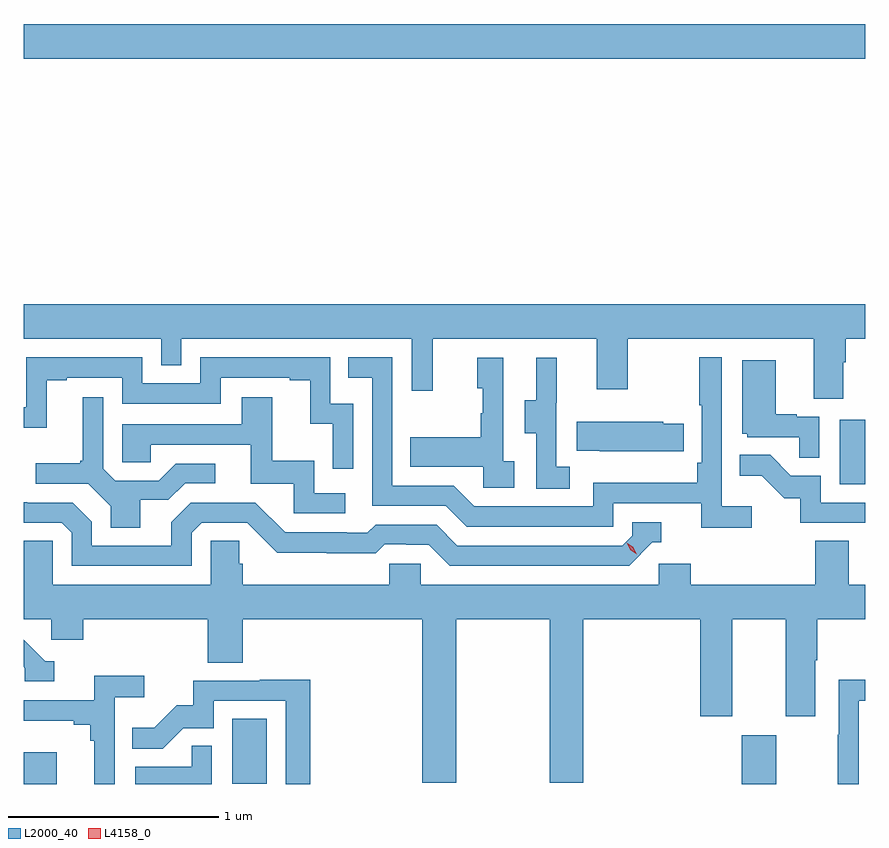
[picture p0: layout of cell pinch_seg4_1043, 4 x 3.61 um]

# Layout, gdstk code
import gdstk
lib = gdstk.Library(unit=1e-6, precision=1e-09)
def R(c, l, rs):  # rectangles x0, y0, x1, y1
    for r in rs: c.add(gdstk.rectangle(r[:2], r[2:], *l))
def P(c, l, *ps):  # polygons
    for p in ps: c.add(gdstk.Polygon(p, *l))
L2000_40 = (2000, 40)
L4158_0 = (4158, 0)

pinch_seg4_1043 = lib.new_cell('pinch_seg4_1043')
R(pinch_seg4_1043, L2000_40, [(879.876,761.404,880.033,761.554), (883.289,761.404,883.453,761.635), (880.868,761.406,881.032,761.713), (883.754,762.828,883.876,763.135), (879.876,764.852,883.876,765.016)])
P(pinch_seg4_1043, L2000_40, [(879.876,763.52),(880.53,763.52),(880.53,763.393),(880.626,763.393),(880.626,763.52),(881.721,763.52),(881.721,763.272),(881.819,763.272),(881.819,763.52),(882.599,763.52),(882.599,763.281),(882.747,763.281),(882.747,763.52),(883.631,763.52),(883.631,763.234),(883.771,763.234),(883.771,763.408),(883.784,763.408),(883.784,763.52),(883.876,763.52),(883.876,763.684),(879.876,763.684)],
  [(883.336,762.724),(883.194,762.724),(883.194,763.432),(883.086,763.432),(883.086,763.204),(883.098,763.204),(883.098,762.931),(883.078,762.931),(883.078,762.835),(882.582,762.835),(882.582,762.723),(882.018,762.723),(881.919,762.822),(881.628,762.822),(881.628,763.431),(881.419,763.431),(881.419,763.335),(881.532,763.335),(881.532,762.726),(881.882,762.726),(881.981,762.627),(882.678,762.627),(882.678,762.738),(883.097,762.738),(883.097,762.622),(883.336,762.622)],
  [(881.442,763.212),(881.334,763.212),(881.334,763.431),(880.716,763.431),(880.716,763.308),(880.44,763.308),(880.44,763.431),(879.888,763.431),(879.888,763.195),(879.876,763.195),(879.876,763.097),(879.985,763.097),(879.985,763.323),(880.081,763.323),(880.081,763.335),(880.344,763.335),(880.344,763.212),(880.812,763.212),(880.812,763.335),(881.141,763.335),(881.141,763.323),(881.237,763.323),(881.237,763.115),(881.346,763.115),(881.346,762.903),(881.442,762.903)],
  [(882.472,762.911),(882.408,762.911),(882.408,763.215),(882.41,763.215),(882.41,763.429),(882.311,763.429),(882.311,763.227),(882.257,763.227),(882.257,763.072),(882.312,763.072),(882.312,762.808),(882.472,762.808)],
  [(882.208,762.938),(882.156,762.938),(882.156,763.429),(882.032,763.429),(882.032,763.284),(882.058,763.284),(882.058,763.166),(882.048,763.166),(882.048,763.051),(881.713,763.051),(881.713,762.911),(882.06,762.911),(882.06,762.813),(882.208,762.813)],
  [(883.656,763.149),(883.55,763.149),(883.55,763.162),(883.45,763.162),(883.45,763.417),(883.292,763.417),(883.292,763.068),(883.314,763.068),(883.314,763.053),(883.561,763.053),(883.561,762.955),(883.656,762.955)],
  [(880.429,762.754),(880.564,762.754),(880.644,762.834),(880.786,762.834),(880.786,762.927),(880.598,762.927),(880.517,762.846),(880.311,762.846),(880.254,762.903),(880.254,763.243),(880.157,763.243),(880.157,762.94),(880.146,762.94),(880.146,762.928),(879.933,762.928),(879.933,762.831),(880.182,762.831),(880.289,762.724),(880.289,762.622),(880.429,762.622)],
  [(881.404,762.786),(881.256,762.786),(881.256,762.94),(881.057,762.94),(881.057,763.243),(880.913,763.243),(880.913,763.113),(880.344,763.113),(880.344,762.933),(880.481,762.933),(880.481,763.017),(880.955,763.017),(880.955,762.831),(881.16,762.831),(881.16,762.69),(881.404,762.69)],
  [(883.013,763.116),(882.915,763.116),(882.915,763.126),(882.505,763.126),(882.505,762.989),(882.613,762.989),(882.613,762.986),(883.013,762.986)],
  [(883.876,762.741),(883.665,762.741),(883.665,762.87),(883.521,762.87),(883.423,762.968),(883.279,762.968),(883.279,762.869),(883.383,762.869),(883.49,762.762),(883.567,762.762),(883.567,762.645),(883.876,762.645)],
  [(880.674,762.597),(880.722,762.645),(880.938,762.645),(881.08,762.503),(881.316,762.503),(881.316,762.501),(881.549,762.501),(881.591,762.543),(881.694,762.543),(881.694,762.54),(881.801,762.54),(881.9,762.441),(882.753,762.441),(882.864,762.552),(882.907,762.552),(882.907,762.648),(882.768,762.648),(882.768,762.585),(882.72,762.537),(881.937,762.537),(881.838,762.636),(881.549,762.636),(881.51,762.597),(881.411,762.597),(881.411,762.6),(881.118,762.6),(880.977,762.741),(880.671,762.741),(880.577,762.647),(880.577,762.537),(880.2,762.537),(880.2,762.651),(880.11,762.741),(879.894,762.741),(879.894,762.743),(879.876,762.743),(879.876,762.645),(880.056,762.645),(880.104,762.597),(880.104,762.441),(880.674,762.441)],
  [(881.931,762.188),(882.376,762.188),(882.376,761.409),(882.536,761.409),(882.536,762.188),(883.091,762.188),(883.091,761.727),(883.243,761.727),(883.243,762.188),(883.499,762.188),(883.499,761.727),(883.639,761.727),(883.639,761.992),(883.647,761.992),(883.647,762.188),(883.876,762.188),(883.876,762.352),(883.797,762.352),(883.797,762.56),(883.637,762.56),(883.637,762.352),(883.046,762.352),(883.046,762.45),(882.894,762.45),(882.894,762.352),(881.763,762.352),(881.763,762.45),(881.613,762.45),(881.613,762.352),(880.916,762.352),(880.916,762.45),(880.901,762.45),(880.901,762.56),(880.764,762.56),(880.764,762.352),(880.014,762.352),(880.014,762.56),(879.876,762.56),(879.876,762.188),(880.008,762.188),(880.008,762.09),(880.16,762.09),(880.16,762.188),(880.751,762.188),(880.751,761.98),(880.916,761.98),(880.916,762.188),(881.771,762.188),(881.771,761.409),(881.931,761.409)],
  [(880.021,761.988),(879.978,761.988),(879.876,762.09),(879.876,761.961),(879.882,761.955),(879.882,761.892),(880.021,761.892)],
  [(880.308,761.816),(880.45,761.816),(880.45,761.918),(880.211,761.918),(880.211,761.802),(879.876,761.802),(879.876,761.705),(880.115,761.705),(880.115,761.686),(880.192,761.686),(880.192,761.609),(880.211,761.609),(880.211,761.404),(880.308,761.404)],
  [(881.237,761.9),(880.999,761.9),(880.999,761.895),(880.681,761.895),(880.681,761.778),(880.604,761.778),(880.497,761.671),(880.393,761.671),(880.393,761.572),(880.537,761.572),(880.635,761.67),(880.779,761.67),(880.779,761.799),(881.121,761.799),(881.121,761.404),(881.237,761.404)],
  [(883.845,761.799),(883.876,761.799),(883.876,761.9),(883.749,761.9),(883.749,761.639),(883.744,761.639),(883.744,761.404),(883.845,761.404)],
  [(880.77,761.585),(880.675,761.585),(880.675,761.487),(880.406,761.487),(880.406,761.404),(880.77,761.404)])
P(pinch_seg4_1043, L4158_0, [(882.789,762.497),(882.758,762.517),(882.742,762.55),(882.742,762.55),(882.742,762.55),(882.773,762.53),(882.789,762.497),(882.789,762.497)])

lib.write_gds('pinch_seg4_1043.gds')
